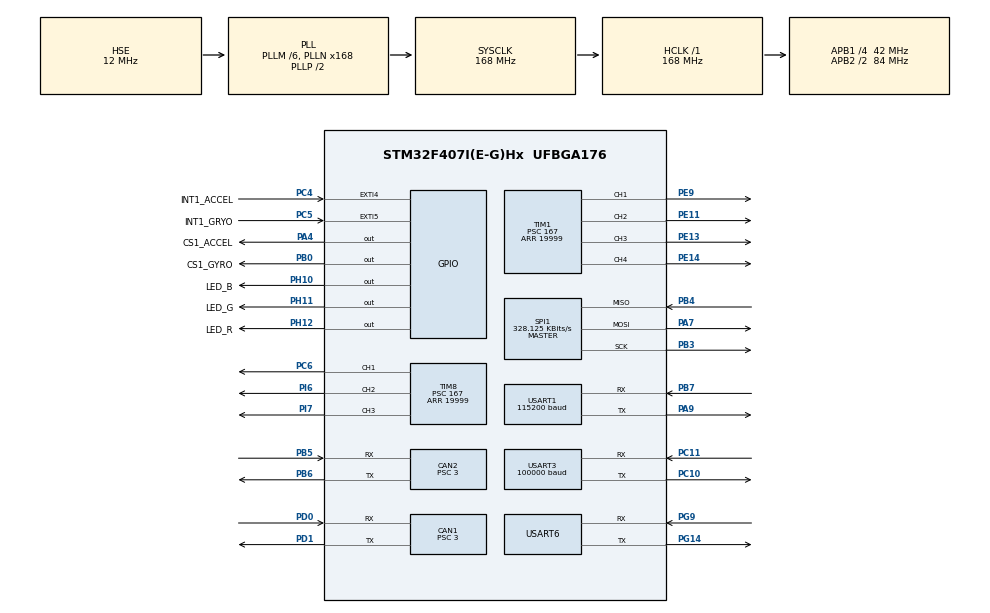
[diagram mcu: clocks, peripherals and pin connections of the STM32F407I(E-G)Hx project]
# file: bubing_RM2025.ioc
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CAN1.BS1=CAN_BS1_10TQ
CAN1.BS2=CAN_BS2_3TQ
CAN1.CalculateBaudRate=1000000
CAN1.CalculateTimeBit=1000
CAN1.CalculateTimeQuantum=71.42857142857143
CAN1.Prescaler=3
CAN2.BS1=CAN_BS1_10TQ
CAN2.BS2=CAN_BS2_3TQ
CAN2.CalculateBaudRate=1000000
CAN2.CalculateTimeBit=1000
CAN2.CalculateTimeQuantum=71.42857142857143
CAN2.Prescaler=3
Dma.Request0=USART6_TX
Dma.Request1=USART6_RX
Dma.Request2=USART3_RX
Dma.Request3=USART1_RX
Dma.Request4=USART1_TX
Dma.USART1_RX.3.Direction=DMA_PERIPH_TO_MEMORY
Dma.USART1_RX.3.FIFOMode=DMA_FIFOMODE_DISABLE
Dma.USART1_RX.3.Instance=DMA2_Stream2
Dma.USART1_RX.3.MemDataAlignment=DMA_MDATAALIGN_BYTE
Dma.USART1_RX.3.MemInc=DMA_MINC_ENABLE
Dma.USART1_RX.3.Mode=DMA_NORMAL
Dma.USART1_RX.3.PeriphDataAlignment=DMA_PDATAALIGN_BYTE
Dma.USART1_RX.3.PeriphInc=DMA_PINC_DISABLE
Dma.USART1_RX.3.Priority=DMA_PRIORITY_HIGH
Dma.USART1_TX.4.Direction=DMA_MEMORY_TO_PERIPH
Dma.USART1_TX.4.FIFOMode=DMA_FIFOMODE_DISABLE
Dma.USART1_TX.4.Instance=DMA2_Stream7
Dma.USART1_TX.4.MemDataAlignment=DMA_MDATAALIGN_BYTE
Dma.USART1_TX.4.MemInc=DMA_MINC_ENABLE
Dma.USART1_TX.4.Mode=DMA_NORMAL
Dma.USART1_TX.4.PeriphDataAlignment=DMA_PDATAALIGN_BYTE
Dma.USART1_TX.4.PeriphInc=DMA_PINC_DISABLE
Dma.USART1_TX.4.Priority=DMA_PRIORITY_HIGH
Dma.USART3_RX.2.Direction=DMA_PERIPH_TO_MEMORY
Dma.USART3_RX.2.FIFOMode=DMA_FIFOMODE_DISABLE
Dma.USART3_RX.2.Instance=DMA1_Stream1
Dma.USART3_RX.2.MemDataAlignment=DMA_MDATAALIGN_BYTE
Dma.USART3_RX.2.MemInc=DMA_MINC_ENABLE
Dma.USART3_RX.2.Mode=DMA_CIRCULAR
Dma.USART3_RX.2.PeriphDataAlignment=DMA_PDATAALIGN_BYTE
Dma.USART3_RX.2.PeriphInc=DMA_PINC_DISABLE
Dma.USART3_RX.2.Priority=DMA_PRIORITY_HIGH
Dma.USART6_RX.1.Direction=DMA_PERIPH_TO_MEMORY
Dma.USART6_RX.1.FIFOMode=DMA_FIFOMODE_DISABLE
Dma.USART6_RX.1.Instance=DMA2_Stream1
Dma.USART6_RX.1.MemDataAlignment=DMA_MDATAALIGN_BYTE
Dma.USART6_RX.1.MemInc=DMA_MINC_ENABLE
Dma.USART6_RX.1.Mode=DMA_CIRCULAR
Dma.USART6_RX.1.PeriphDataAlignment=DMA_PDATAALIGN_BYTE
Dma.USART6_RX.1.PeriphInc=DMA_PINC_DISABLE
Dma.USART6_RX.1.Priority=DMA_PRIORITY_MEDIUM
Dma.USART6_TX.0.Direction=DMA_MEMORY_TO_PERIPH
Dma.USART6_TX.0.FIFOMode=DMA_FIFOMODE_DISABLE
Dma.USART6_TX.0.Instance=DMA2_Stream6
Dma.USART6_TX.0.MemDataAlignment=DMA_MDATAALIGN_BYTE
Dma.USART6_TX.0.MemInc=DMA_MINC_ENABLE
Dma.USART6_TX.0.Mode=DMA_CIRCULAR
Dma.USART6_TX.0.PeriphDataAlignment=DMA_PDATAALIGN_BYTE
Dma.USART6_TX.0.PeriphInc=DMA_PINC_DISABLE
Dma.USART6_TX.0.Priority=DMA_PRIORITY_MEDIUM
FREERTOS.Tasks01=defaultTask,0,128,StartDefaultTask,Default,NULL,Dynamic,NULL,NULL;board_LED_task,-3,128,board_LED,As weak,NULL,Dynamic,NULL,NULL;uart_sent_test,-3,256,uart_sent_debug,As weak,NULL,Dynamic,NULL,NULL;get_rc_task,-3,256,get_rc,As weak,NULL,Dynamic,NULL,NULL;can_sent_task,-3,256,can_sent,As weak,NULL,Dynamic,NULL,NULL;err_dec_task,-3,256,error_detection,As weak,NULL,Dynamic,NULL,NULL;chassisMotorTas,-3,256,chassis_motor_control,As weak,NULL,Dynamic,NULL,NULL;gimbalTask,-3,256,gimbal_motor_control,As weak,NULL,Dynamic,NULL,NULL;shoot_con_task,-3,256,shoot_control,As weak,NULL,Dynamic,NULL,NULL;referee,-3,256,refree_task,As weak,NULL,Dynamic,NULL,NULL;servo,-3,256,servo_task,As weak,NULL,Dynamic,NULL,NULL;imu_data,-3,256,IMU_DATA_GET,As weak,NULL,Dynamic,NULL,NULL;aim_uart_task,-3,256,aim_uart_sent,As weak,NULL,Dynamic,NULL,NULL
FREERTOS.configTOTAL_HEAP_SIZE=24576
FREERTOS.configUSE_NEWLIB_REENTRANT=1
FREERTOS.configUSE_TIMERS=0
Mcu.Family=STM32F4
Mcu.Name=STM32F407I(E-G)Hx
Mcu.Package=UFBGA176
NVIC.CAN1_RX0_IRQn=true\:5\:0\:false\:false\:true\:true\:true\:true\:true
NVIC.CAN2_RX0_IRQn=true\:5\:0\:false\:false\:true\:true\:true\:true\:true
NVIC.DMA1_Stream1_IRQn=true\:5\:0\:false\:false\:true\:true\:false\:true\:true
NVIC.DMA2_Stream1_IRQn=true\:5\:0\:false\:false\:true\:true\:false\:true\:true
NVIC.DMA2_Stream2_IRQn=true\:5\:0\:false\:false\:true\:true\:false\:true\:true
NVIC.DMA2_Stream6_IRQn=true\:5\:0\:false\:false\:true\:true\:false\:true\:true
NVIC.DMA2_Stream7_IRQn=true\:5\:0\:false\:false\:true\:true\:false\:true\:true
NVIC.PriorityGroup=NVIC_PRIORITYGROUP_4
NVIC.TIM7_IRQn=true\:15\:0\:false\:false\:true\:false\:false\:true\:true
NVIC.TimeBase=TIM7_IRQn
NVIC.TimeBaseIP=TIM7
NVIC.USART1_IRQn=true\:5\:0\:false\:false\:true\:true\:true\:true\:true
NVIC.USART3_IRQn=true\:5\:0\:false\:false\:true\:true\:true\:true\:true
NVIC.USART6_IRQn=true\:5\:0\:false\:false\:true\:true\:true\:true\:true
PA13.Mode=Serial_Wire
PA13.Signal=SYS_JTMS-SWDIO
PA14.Mode=Serial_Wire
PA14.Signal=SYS_JTCK-SWCLK
PA4.GPIO_Label=CS1_ACCEL
PA4.GPIO_PuPd=GPIO_PULLUP
PA4.GPIO_Speed=GPIO_SPEED_FREQ_HIGH
PA4.PinState=GPIO_PIN_SET
PA4.Signal=GPIO_Output
PA7.Mode=Full_Duplex_Master
PA7.Signal=SPI1_MOSI
PA9.Mode=Asynchronous
PA9.Signal=USART1_TX
PB0.GPIO_Label=CS1_GYRO
PB0.GPIO_PuPd=GPIO_PULLUP
PB0.GPIO_Speed=GPIO_SPEED_FREQ_HIGH
PB0.PinState=GPIO_PIN_SET
PB0.Signal=GPIO_Output
PB3.Mode=Full_Duplex_Master
PB3.Signal=SPI1_SCK
PB4.Mode=Full_Duplex_Master
PB4.Signal=SPI1_MISO
PB5.Mode=CAN_Activate
PB5.Signal=CAN2_RX
PB6.Mode=CAN_Activate
PB6.Signal=CAN2_TX
PB7.Mode=Asynchronous
PB7.Signal=USART1_RX
PC10.Mode=Asynchronous
PC10.Signal=USART3_TX
PC11.Mode=Asynchronous
PC11.Signal=USART3_RX
PC4.GPIO_Label=INT1_ACCEL
PC4.GPIO_PuPd=GPIO_PULLUP
PC4.Signal=GPXTI4
PC5.GPIO_Label=INT1_GRYO
PC5.GPIO_PuPd=GPIO_PULLUP
PC5.Signal=GPXTI5
PC6.Signal=S_TIM8_CH1
PD0.Mode=CAN_Activate
PD0.Signal=CAN1_RX
PD1.Mode=CAN_Activate
PD1.Signal=CAN1_TX
PE11.Signal=S_TIM1_CH2
PE13.Signal=S_TIM1_CH3
PE14.Signal=S_TIM1_CH4
PE9.Signal=S_TIM1_CH1
PG14.Mode=Asynchronous
PG14.Signal=USART6_TX
PG9.Mode=Asynchronous
PG9.Signal=USART6_RX
PH0-OSC_IN.Mode=HSE-External-Oscillator
PH0-OSC_IN.Signal=RCC_OSC_IN
PH1-OSC_OUT.Mode=HSE-External-Oscillator
PH1-OSC_OUT.Signal=RCC_OSC_OUT
PH10.GPIO_Label=LED_B
PH10.Signal=GPIO_Output
PH11.GPIO_Label=LED_G
PH11.Signal=GPIO_Output
PH12.GPIO_Label=LED_R
PH12.Signal=GPIO_Output
PI6.Signal=S_TIM8_CH2
PI7.Signal=S_TIM8_CH3
ProjectManager.HeapSize=0x200
ProjectManager.StackSize=0x400
ProjectManager.TargetToolchain=STM32CubeIDE
RCC.48MHZClocksFreq_Value=84000000
RCC.AHBFreq_Value=168000000
RCC.APB1CLKDivider=RCC_HCLK_DIV4
RCC.APB1Freq_Value=42000000
RCC.APB1TimFreq_Value=84000000
RCC.APB2CLKDivider=RCC_HCLK_DIV2
RCC.APB2Freq_Value=84000000
RCC.APB2TimFreq_Value=168000000
RCC.CortexFreq_Value=168000000
RCC.HCLKFreq_Value=168000000
RCC.HSE_VALUE=12000000
RCC.HSI_VALUE=16000000
RCC.LSE_VALUE=32768
RCC.PLLM=6
RCC.PLLN=168
RCC.PLLSourceVirtual=RCC_PLLSOURCE_HSE
RCC.SYSCLKFreq_VALUE=168000000
RCC.SYSCLKSource=RCC_SYSCLKSOURCE_PLLCLK
RCC.VCOOutputFreq_Value=336000000
SH.S_TIM1_CH1.0=TIM1_CH1,PWM Generation1 CH1
SH.S_TIM1_CH2.0=TIM1_CH2,PWM Generation2 CH2
SH.S_TIM1_CH3.0=TIM1_CH3,PWM Generation3 CH3
SH.S_TIM1_CH4.0=TIM1_CH4,PWM Generation4 CH4
SH.S_TIM8_CH1.0=TIM8_CH1,PWM Generation1 CH1
SH.S_TIM8_CH2.0=TIM8_CH2,PWM Generation2 CH2
SH.S_TIM8_CH3.0=TIM8_CH3,PWM Generation3 CH3
SPI1.BaudRatePrescaler=SPI_BAUDRATEPRESCALER_256
SPI1.CLKPhase=SPI_PHASE_2EDGE
SPI1.CLKPolarity=SPI_POLARITY_HIGH
SPI1.CalculateBaudRate=328.125 KBits/s
SPI1.Direction=SPI_DIRECTION_2LINES
SPI1.Mode=SPI_MODE_MASTER
SPI1.VirtualType=VM_MASTER
TIM1.Channel-PWM\ Generation1\ CH1=TIM_CHANNEL_1
TIM1.Channel-PWM\ Generation2\ CH2=TIM_CHANNEL_2
TIM1.Channel-PWM\ Generation3\ CH3=TIM_CHANNEL_3
TIM1.Channel-PWM\ Generation4\ CH4=TIM_CHANNEL_4
TIM1.Period=19999
TIM1.Prescaler=167
TIM1.Pulse-PWM\ Generation1\ CH1=2000
TIM1.Pulse-PWM\ Generation2\ CH2=2000
TIM1.Pulse-PWM\ Generation3\ CH3=2000
TIM1.Pulse-PWM\ Generation4\ CH4=2000
TIM8.Channel-PWM\ Generation1\ CH1=TIM_CHANNEL_1
TIM8.Channel-PWM\ Generation2\ CH2=TIM_CHANNEL_2
TIM8.Channel-PWM\ Generation3\ CH3=TIM_CHANNEL_3
TIM8.Period=19999
TIM8.Prescaler=167
TIM8.Pulse-PWM\ Generation1\ CH1=2000
TIM8.Pulse-PWM\ Generation2\ CH2=2000
TIM8.Pulse-PWM\ Generation3\ CH3=2000
USART1.BaudRate=115200
USART1.VirtualMode=VM_ASYNC
USART3.BaudRate=100000
USART3.Mode=MODE_RX
USART3.Parity=PARITY_EVEN
USART3.VirtualMode=VM_ASYNC
USART6.VirtualMode=VM_ASYNC
VP_FREERTOS_VS_CMSIS_V1.Mode=CMSIS_V1
VP_SYS_VS_tim7.Mode=TIM7
VP_TIM1_VS_ClockSourceINT.Mode=Internal
VP_TIM8_VS_ClockSourceINT.Mode=Internal
board=custom

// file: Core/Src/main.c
/* USER CODE BEGIN Header */
/**
  ******************************************************************************
  * @file           : main.c
  * @brief          : Main program body
  ******************************************************************************
  * @attention
  *
  * Copyright (c) 2025 STMicroelectronics.
  * All rights reserved.
  *
  * This software is licensed under terms that can be found in the LICENSE file
  * in the root directory of this software component.
  * If no LICENSE file comes with this software, it is provided AS-IS.
  *
  ******************************************************************************
  */
/* USER CODE END Header */
#include "main.h"
#include "cmsis_os.h"
#include "can.h"
#include "dma.h"
#include "spi.h"
#include "tim.h"
#include "usart.h"
#include "gpio.h"

/* USER CODE BEGIN Includes */
#include <stdio.h>
#include "board_LED.h"
#include "uart_printf.h"
#include "uart_sent.h"
#include "bsp_rc.h"
#include "remote_control.h"
#include "get_rc.h"
#include "bsp_can.h"
#include "CAN_receive.h"
#include "jy61p.h"
#include "pid.h"
#include "chassis_motor_control.h"
#include "gimbal_motor_control.h"
#include "shoot_control.h"
#include <math.h>
#include <stdbool.h>
#include "BMI088driver.h"
#include "IMU_DATA_GET.h"
#include "MahonyAHRS.h"
#include "auto_aim.h"

/* USER CODE END Includes */

/* USER CODE BEGIN PTD */

const RC_ctrl_t *local_rc_ctrl ;//遥控器数据存储空间
int16_t rc_ch0 ;
int16_t rc_ch1 ;
int16_t rc_ch2 ;
int16_t rc_ch3 ;
int16_t rc_ch4 ;
int16_t rc_s0 ;
int16_t rc_s1 ;
int16_t key_W ;
int16_t key_S ;
int16_t key_A ;
int16_t key_D ;
int16_t key_SHIFT ;
int16_t key_CTRL ;
int16_t key_Q ;
int16_t key_E ;
int16_t key_R ;
int16_t key_F ;
int16_t key_G ;
int16_t key_Z ;
int16_t key_X ;
int16_t key_C ;
int16_t key_V ;
int16_t key_B ;

int16_t mouse_vx ;
int16_t mouse_vy ;
int16_t mouse_press_l ;
int16_t mouse_press_r ;

int16_t rc_receive_state ;//遥控器状态 0为离线，1为在线
uint32_t rc_receive_time ;//遥控器接收到数据的时间戳

int16_t yaw_6020_state ;//6020电机状态 0为错误，1为正常
int16_t pitch_6020_state ;//6020电机状态 0为错误，1为正常

float gimbal_vx ;
float gimbal_vy ;

float chassis_vx ;
float chassis_vy ;
float chassis_vround ;

float yaw_angle_difference ;
float yaw_radian_difference ;

uint32_t gyro_time ;
int16_t gyro_state ;

//chassis
int16_t CHASSIS_3508_ID1_GIVEN_SPEED ;
int16_t CHASSIS_3508_ID1_GIVEN_CURRENT ;
int16_t CHASSIS_3508_ID1_VXY_COMPUTE_SPEED ;

int16_t CHASSIS_3508_ID2_GIVEN_SPEED ;
int16_t CHASSIS_3508_ID2_GIVEN_CURRENT ;
int16_t CHASSIS_3508_ID2_VXY_COMPUTE_SPEED ;

int16_t CHASSIS_3508_ID3_GIVEN_SPEED ;
int16_t CHASSIS_3508_ID3_GIVEN_CURRENT ;
int16_t CHASSIS_3508_ID3_VXY_COMPUTE_SPEED ;

int16_t CHASSIS_3508_ID4_GIVEN_SPEED ;
int16_t CHASSIS_3508_ID4_GIVEN_CURRENT ;
int16_t CHASSIS_3508_ID4_VXY_COMPUTE_SPEED ;

float CHASSIS_3508_ALL_COMPUTE_SPEED ;

float CHASSIS_FOLLOW_GIMBAL_GIVEN_SPEED ;

float beyond_power ;

int16_t chassis_power_state ;//0为正常，1为超功率限制状态

//gimbal_vx
float YAW_6020_ID1_GIVEN_SPEED ;
int16_t YAW_6020_ID1_GIVEN_CURRENT ;
float YAW_6020_ID1_GIVEN_ANGLE ;

float PITCH_6020_ID2_GIVEN_ANGLE ;
float PITCH_6020_ID2_GIVEN_SPEED ;
int16_t PITCH_6020_ID2_GIVEN_CURRENT ;
float pitch_motor_mean_speed ;
int16_t pitch_motor_speed_last_data [3] ;

//friction wheel
int16_t FRICTION_WHEEL_3510_ID1_GIVEN_SPEED ;
int16_t FRICTION_WHEEL_3510_ID1_GIVEN_CURRENT ;

int16_t FRICTION_WHEEL_3510_ID2_GIVEN_SPEED ;
int16_t FRICTION_WHEEL_3510_ID2_GIVEN_CURRENT ;

//shoot
float SHOOT_2006_ID3_GIVEN_SPEED ;
int16_t SHOOT_2006_ID3_GIVEN_CURRENT ;

//robot_information
int16_t robot_level = 1;
uint32_t robot_level_time ;

float robot_max_power ;

float send_out_all_speed ;

uint32_t servo_time ;
uint32_t servo_rc_time ;
uint32_t servo_state ;

float gyro[3];
float acce[3];
float temp;
float INS_quat[4] = {1.0f, 0.0f, 0.0f, 0.0f};
float INS_angle[3] = {0.0f, 0.0f, 0.0f};
float INS_degree[3] = {0.0f, 0.0f, 0.0f};

float pitch_speed_from_bmi088 ;
float yaw_speed_from_bmi088 ;
float roll_speed_from_bmi088 ;

float pitch_angle_from_bmi088 ;
float yaw_angle_from_bmi088 ;
float roll_angle_from_bmi088 ;

float pitch_radian_from_bmi088 ;
float yaw_radian_from_bmi088 ;
float roll_radian_from_bmi088 ;

bool reset_tracker = false ;

float YAW_IMU_LAST_ECD ;
float YAW_IMU_LAPS ;
float YAW_IMU_ABSCISSA ;

float yaw_imu_preprocess ;

uint8_t uart1_receive_data ;//串口当前接收字节

uint32_t auto_aim_com_update_time ;

float auto_aim_los_pitch_angle ;
float auto_aim_los_yaw_angle ;

/* USER CODE END PTD */

void SystemClock_Config(void);
void MX_FREERTOS_Init(void);

int main(void)
{

  /* MCU Configuration--------------------------------------------------------*/

  /* Reset of all peripherals, Initializes the Flash interface and the Systick. */
  HAL_Init();

  /* Configure the system clock */
  SystemClock_Config();

  /* Initialize all configured peripherals */
  MX_GPIO_Init();
  MX_DMA_Init();
  MX_USART6_UART_Init();
  MX_USART3_UART_Init();
  MX_CAN1_Init();
  MX_CAN2_Init();
  MX_USART1_UART_Init();
  MX_TIM1_Init();
  MX_TIM8_Init();
  MX_SPI1_Init();
  /* USER CODE BEGIN 2 */

    HAL_TIM_Base_Start(&htim1);
    HAL_TIM_PWM_Start(&htim1, TIM_CHANNEL_1);
    HAL_TIM_PWM_Start(&htim1, TIM_CHANNEL_2);
    HAL_TIM_PWM_Start(&htim1, TIM_CHANNEL_3);
    HAL_TIM_PWM_Start(&htim1, TIM_CHANNEL_1);
    HAL_TIM_Base_Start(&htim8);
    HAL_TIM_PWM_Start(&htim8, TIM_CHANNEL_1);
    HAL_TIM_PWM_Start(&htim8, TIM_CHANNEL_2);
    HAL_TIM_PWM_Start(&htim8, TIM_CHANNEL_3);

    HAL_UART_Receive_DMA(&huart1, &uart1_receive_data, 1);  //串口2接收数据中断

    remote_control_init();//遥控器初始化

    local_rc_ctrl = get_remote_control_point();//遥控器初始化

    HAL_Delay(4);

    BMI088_init();

    can_filter_init();//can通讯初始化

    //底盘电机初始化
    chassis_3508_id1_speed_pid_init();
    chassis_3508_id2_speed_pid_init();
    chassis_3508_id3_speed_pid_init();
    chassis_3508_id4_speed_pid_init();

    chassis_follow_gimbal_angle_pid_init();//底盘跟随初始化

    //云台电机初始化
    yaw_speed_pid_init();//yaw速度环pid初始化
    yaw_angle_pid_init();//yaw位置环pid初始化
    pitch_speed_from_bmi88_pid_init();//pitch速度环pid初始化
    pitch_angle_pid_init();//pitch角度环pid初始化

    //摩擦轮电机初始化
    friction_wheel_3510_id1_speed_pid_init();//摩擦轮id1速度环初始化
    friction_wheel_3510_id2_speed_pid_init();//摩擦轮id2速度环初始化

    //拨弹盘电机初始化
    shoot_2006_id3_speed_pid_init();//拨弹盘id3速度环初始化

  /* USER CODE END 2 */

  /* Call init function for freertos objects (in cmsis_os2.c) */
  MX_FREERTOS_Init();

  /* Start scheduler */
  osKernelStart();

  /* We should never get here as control is now taken by the scheduler */

  /* Infinite loop */
  while (1)
  {

  }
}

void SystemClock_Config(void)
{
  RCC_OscInitTypeDef RCC_OscInitStruct = {0};
  RCC_ClkInitTypeDef RCC_ClkInitStruct = {0};

  /** Configure the main internal regulator output voltage
  */
  __HAL_RCC_PWR_CLK_ENABLE();
  __HAL_PWR_VOLTAGESCALING_CONFIG(PWR_REGULATOR_VOLTAGE_SCALE1);

  /** Initializes the RCC Oscillators according to the specified parameters
  * in the RCC_OscInitTypeDef structure.
  */
  RCC_OscInitStruct.OscillatorType = RCC_OSCILLATORTYPE_HSE;
  RCC_OscInitStruct.HSEState = RCC_HSE_ON;
  RCC_OscInitStruct.PLL.PLLState = RCC_PLL_ON;
  RCC_OscInitStruct.PLL.PLLSource = RCC_PLLSOURCE_HSE;
  RCC_OscInitStruct.PLL.PLLM = 6;
  RCC_OscInitStruct.PLL.PLLN = 168;
  RCC_OscInitStruct.PLL.PLLP = RCC_PLLP_DIV2;
  RCC_OscInitStruct.PLL.PLLQ = 4;
  if (HAL_RCC_OscConfig(&RCC_OscInitStruct) != HAL_OK)
  {
    Error_Handler();
  }

  /** Initializes the CPU, AHB and APB buses clocks
  */
  RCC_ClkInitStruct.ClockType = RCC_CLOCKTYPE_HCLK|RCC_CLOCKTYPE_SYSCLK
                              |RCC_CLOCKTYPE_PCLK1|RCC_CLOCKTYPE_PCLK2;
  RCC_ClkInitStruct.SYSCLKSource = RCC_SYSCLKSOURCE_PLLCLK;
  RCC_ClkInitStruct.AHBCLKDivider = RCC_SYSCLK_DIV1;
  RCC_ClkInitStruct.APB1CLKDivider = RCC_HCLK_DIV4;
  RCC_ClkInitStruct.APB2CLKDivider = RCC_HCLK_DIV2;

  if (HAL_RCC_ClockConfig(&RCC_ClkInitStruct, FLASH_LATENCY_5) != HAL_OK)
  {
    Error_Handler();
  }
}

void HAL_TIM_PeriodElapsedCallback(TIM_HandleTypeDef *htim)
{
  if (htim->Instance == TIM7) {
    HAL_IncTick();
  }
}

void Error_Handler(void)
{
  __disable_irq();
  while (1)
  {
  }
}

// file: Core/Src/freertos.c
/* USER CODE BEGIN Header */
/**
  ******************************************************************************
  * File Name          : freertos.c
  * Description        : Code for freertos applications
  ******************************************************************************
  * @attention
  *
  * Copyright (c) 2025 STMicroelectronics.
  * All rights reserved.
  *
  * This software is licensed under terms that can be found in the LICENSE file
  * in the root directory of this software component.
  * If no LICENSE file comes with this software, it is provided AS-IS.
  *
  ******************************************************************************
  */
/* USER CODE END Header */

#include "FreeRTOS.h"
#include "task.h"
#include "main.h"
#include "cmsis_os.h"

osThreadId defaultTaskHandle;
osThreadId board_LED_taskHandle;
osThreadId uart_sent_testHandle;
osThreadId get_rc_taskHandle;
osThreadId can_sent_taskHandle;
osThreadId err_dec_taskHandle;
osThreadId chassisMotorTasHandle;
osThreadId gimbalTaskHandle;
osThreadId shoot_con_taskHandle;
osThreadId refereeHandle;
osThreadId servoHandle;
osThreadId imu_dataHandle;
osThreadId aim_uart_taskHandle;

void StartDefaultTask(void const * argument);
void board_LED(void const * argument);
void uart_sent_debug(void const * argument);
void get_rc(void const * argument);
void can_sent(void const * argument);
void error_detection(void const * argument);
void chassis_motor_control(void const * argument);
void gimbal_motor_control(void const * argument);
void shoot_control(void const * argument);
void refree_task(void const * argument);
void servo_task(void const * argument);
void IMU_DATA_GET(void const * argument);
void aim_uart_sent(void const * argument);

void MX_FREERTOS_Init(void); /* (MISRA C 2004 rule 8.1) */

/* GetIdleTaskMemory prototype (linked to static allocation support) */
void vApplicationGetIdleTaskMemory( StaticTask_t **ppxIdleTaskTCBBuffer, StackType_t **ppxIdleTaskStackBuffer, uint32_t *pulIdleTaskStackSize );

/* USER CODE BEGIN GET_IDLE_TASK_MEMORY */
static StaticTask_t xIdleTaskTCBBuffer;
static StackType_t xIdleStack[configMINIMAL_STACK_SIZE];

void vApplicationGetIdleTaskMemory( StaticTask_t **ppxIdleTaskTCBBuffer, StackType_t **ppxIdleTaskStackBuffer, uint32_t *pulIdleTaskStackSize )
{
  *ppxIdleTaskTCBBuffer = &xIdleTaskTCBBuffer;
  *ppxIdleTaskStackBuffer = &xIdleStack[0];
  *pulIdleTaskStackSize = configMINIMAL_STACK_SIZE;
  /* place for user code */
}
/* USER CODE END GET_IDLE_TASK_MEMORY */

void MX_FREERTOS_Init(void) {

  /* Create the thread(s) */
  /* definition and creation of defaultTask */
  osThreadDef(defaultTask, StartDefaultTask, osPriorityNormal, 0, 128);
  defaultTaskHandle = osThreadCreate(osThread(defaultTask), NULL);

  /* definition and creation of board_LED_task */
  osThreadDef(board_LED_task, board_LED, osPriorityIdle, 0, 128);
  board_LED_taskHandle = osThreadCreate(osThread(board_LED_task), NULL);

  /* definition and creation of uart_sent_test */
  osThreadDef(uart_sent_test, uart_sent_debug, osPriorityIdle, 0, 256);
  uart_sent_testHandle = osThreadCreate(osThread(uart_sent_test), NULL);

  /* definition and creation of get_rc_task */
  osThreadDef(get_rc_task, get_rc, osPriorityIdle, 0, 256);
  get_rc_taskHandle = osThreadCreate(osThread(get_rc_task), NULL);

  /* definition and creation of can_sent_task */
  osThreadDef(can_sent_task, can_sent, osPriorityIdle, 0, 256);
  can_sent_taskHandle = osThreadCreate(osThread(can_sent_task), NULL);

  /* definition and creation of err_dec_task */
  osThreadDef(err_dec_task, error_detection, osPriorityIdle, 0, 256);
  err_dec_taskHandle = osThreadCreate(osThread(err_dec_task), NULL);

  /* definition and creation of chassisMotorTas */
  osThreadDef(chassisMotorTas, chassis_motor_control, osPriorityIdle, 0, 256);
  chassisMotorTasHandle = osThreadCreate(osThread(chassisMotorTas), NULL);

  /* definition and creation of gimbalTask */
  osThreadDef(gimbalTask, gimbal_motor_control, osPriorityIdle, 0, 256);
  gimbalTaskHandle = osThreadCreate(osThread(gimbalTask), NULL);

  /* definition and creation of shoot_con_task */
  osThreadDef(shoot_con_task, shoot_control, osPriorityIdle, 0, 256);
  shoot_con_taskHandle = osThreadCreate(osThread(shoot_con_task), NULL);

  /* definition and creation of referee */
  osThreadDef(referee, refree_task, osPriorityIdle, 0, 256);
  refereeHandle = osThreadCreate(osThread(referee), NULL);

  /* definition and creation of servo */
  osThreadDef(servo, servo_task, osPriorityIdle, 0, 256);
  servoHandle = osThreadCreate(osThread(servo), NULL);

  /* definition and creation of imu_data */
  osThreadDef(imu_data, IMU_DATA_GET, osPriorityIdle, 0, 256);
  imu_dataHandle = osThreadCreate(osThread(imu_data), NULL);

  /* definition and creation of aim_uart_task */
  osThreadDef(aim_uart_task, aim_uart_sent, osPriorityIdle, 0, 256);
  aim_uart_taskHandle = osThreadCreate(osThread(aim_uart_task), NULL);

}

void StartDefaultTask(void const * argument)
{
  for(;;)
  {
    osDelay(1);
  }
}

__weak void board_LED(void const * argument)
{
  for(;;)
  {
    osDelay(1);
  }
}

__weak void uart_sent_debug(void const * argument)
{
  for(;;)
  {
    osDelay(1);
  }
}

__weak void get_rc(void const * argument)
{
  for(;;)
  {
    osDelay(1);
  }
}

__weak void can_sent(void const * argument)
{
  for(;;)
  {
    osDelay(1);
  }
}

__weak void error_detection(void const * argument)
{
  for(;;)
  {
    osDelay(1);
  }
}

__weak void chassis_motor_control(void const * argument)
{
  for(;;)
  {
    osDelay(1);
  }
}

__weak void gimbal_motor_control(void const * argument)
{
  for(;;)
  {
    osDelay(1);
  }
}

__weak void shoot_control(void const * argument)
{
  for(;;)
  {
    osDelay(1);
  }
}

__weak void refree_task(void const * argument)
{
  for(;;)
  {
    osDelay(1);
  }
}

__weak void servo_task(void const * argument)
{
  for(;;)
  {
    osDelay(1);
  }
}

__weak void IMU_DATA_GET(void const * argument)
{
  for(;;)
  {
    osDelay(1);
  }
}

__weak void aim_uart_sent(void const * argument)
{
  for(;;)
  {
    osDelay(1);
  }
}
